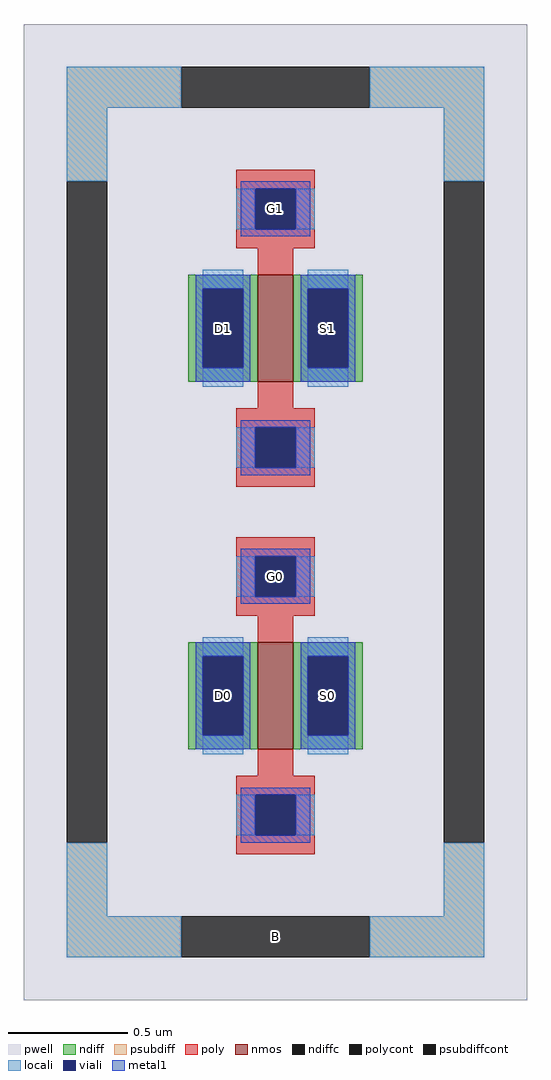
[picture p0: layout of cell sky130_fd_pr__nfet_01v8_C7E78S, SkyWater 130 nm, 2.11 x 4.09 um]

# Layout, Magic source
magic
tech sky130A
magscale 1 2
<< pwell >>
rect -211 -409 211 409
<< nmos >>
rect -15 109 15 199
rect -15 -199 15 -109
<< ndiff >>
rect -73 187 -15 199
rect -73 121 -61 187
rect -27 121 -15 187
rect -73 109 -15 121
rect 15 187 73 199
rect 15 121 27 187
rect 61 121 73 187
rect 15 109 73 121
rect -73 -121 -15 -109
rect -73 -187 -61 -121
rect -27 -187 -15 -121
rect -73 -199 -15 -187
rect 15 -121 73 -109
rect 15 -187 27 -121
rect 61 -187 73 -121
rect 15 -199 73 -187
<< ndiffc >>
rect -61 121 -27 187
rect 27 121 61 187
rect -61 -187 -27 -121
rect 27 -187 61 -121
<< psubdiff >>
rect -175 339 -79 373
rect 79 339 175 373
rect -175 277 -141 339
rect 141 277 175 339
rect -175 -339 -141 -277
rect 141 -339 175 -277
rect -175 -373 -79 -339
rect 79 -373 175 -339
<< psubdiffcont >>
rect -79 339 79 373
rect -175 -277 -141 277
rect 141 -277 175 277
rect -79 -373 79 -339
<< poly >>
rect -33 271 33 287
rect -33 237 -17 271
rect 17 237 33 271
rect -33 221 33 237
rect -15 199 15 221
rect -15 87 15 109
rect -33 71 33 87
rect -33 37 -17 71
rect 17 37 33 71
rect -33 21 33 37
rect -33 -37 33 -21
rect -33 -71 -17 -37
rect 17 -71 33 -37
rect -33 -87 33 -71
rect -15 -109 15 -87
rect -15 -221 15 -199
rect -33 -237 33 -221
rect -33 -271 -17 -237
rect 17 -271 33 -237
rect -33 -287 33 -271
<< polycont >>
rect -17 237 17 271
rect -17 37 17 71
rect -17 -71 17 -37
rect -17 -271 17 -237
<< locali >>
rect -175 339 -79 373
rect 79 339 175 373
rect -175 277 -141 339
rect 141 277 175 339
rect -33 237 -17 271
rect 17 237 33 271
rect -61 187 -27 203
rect -61 105 -27 121
rect 27 187 61 203
rect 27 105 61 121
rect -33 37 -17 71
rect 17 37 33 71
rect -33 -71 -17 -37
rect 17 -71 33 -37
rect -61 -121 -27 -105
rect -61 -203 -27 -187
rect 27 -121 61 -105
rect 27 -203 61 -187
rect -33 -271 -17 -237
rect 17 -271 33 -237
rect -175 -339 -141 -277
rect 141 -339 175 -277
rect -175 -373 -79 -339
rect 79 -373 175 -339
<< viali >>
rect -17 237 17 271
rect -61 121 -27 187
rect 27 121 61 187
rect -17 37 17 71
rect -17 -71 17 -37
rect -61 -187 -27 -121
rect 27 -187 61 -121
rect -17 -271 17 -237
<< metal1 >>
rect -29 271 29 277
rect -29 237 -17 271
rect 17 237 29 271
rect -29 231 29 237
rect -67 187 -21 199
rect -67 121 -61 187
rect -27 121 -21 187
rect -67 109 -21 121
rect 21 187 67 199
rect 21 121 27 187
rect 61 121 67 187
rect 21 109 67 121
rect -29 71 29 77
rect -29 37 -17 71
rect 17 37 29 71
rect -29 31 29 37
rect -29 -37 29 -31
rect -29 -71 -17 -37
rect 17 -71 29 -37
rect -29 -77 29 -71
rect -67 -121 -21 -109
rect -67 -187 -61 -121
rect -27 -187 -21 -121
rect -67 -199 -21 -187
rect 21 -121 67 -109
rect 21 -187 27 -121
rect 61 -187 67 -121
rect 21 -199 67 -187
rect -29 -237 29 -231
rect -29 -271 -17 -237
rect 17 -271 29 -237
rect -29 -277 29 -271
<< labels >>
rlabel psubdiffcont 0 -356 0 -356 0 B
port 50 nsew
rlabel ndiffc -44 -154 -44 -154 0 D0
port 51 nsew
rlabel ndiffc 44 -154 44 -154 0 S0
port 52 nsew
rlabel polycont 0 -54 0 -54 0 G0
port 53 nsew
rlabel ndiffc -44 154 -44 154 0 D1
port 54 nsew
rlabel ndiffc 44 154 44 154 0 S1
port 55 nsew
rlabel polycont 0 254 0 254 0 G1
port 56 nsew
<< properties >>
string FIXED_BBOX -158 -356 158 356
string gencell sky130_fd_pr__nfet_01v8
string library sky130
string parameters w 0.45 l 0.15 m 2 nf 1 diffcov 100 polycov 100 guard 1 glc 1 grc 1 gtc 1 gbc 1 tbcov 100 rlcov 100 topc 1 botc 1 poverlap 0 doverlap 1 lmin 0.15 wmin 0.42 class mosfet compatible {sky130_fd_pr__nfet_01v8 sky130_fd_pr__nfet_01v8_lvt  sky130_fd_bs_flash__special_sonosfet_star  sky130_fd_pr__nfet_g5v0d10v5 sky130_fd_pr__nfet_05v0_nvt  sky130_fd_pr__nfet_03v3_nvt} full_metal 1 viasrc 100 viadrn 100 viagate 100 viagb 0 viagr 0 viagl 0 viagt 0 doports 1 ad 0.1305 as 0.1305 pd 1.48 ps 1.48 nrd 0.644444444444444 nrs 0.644444444444444 sa 0 sb 0 sd 0 mult 2
<< end >>
